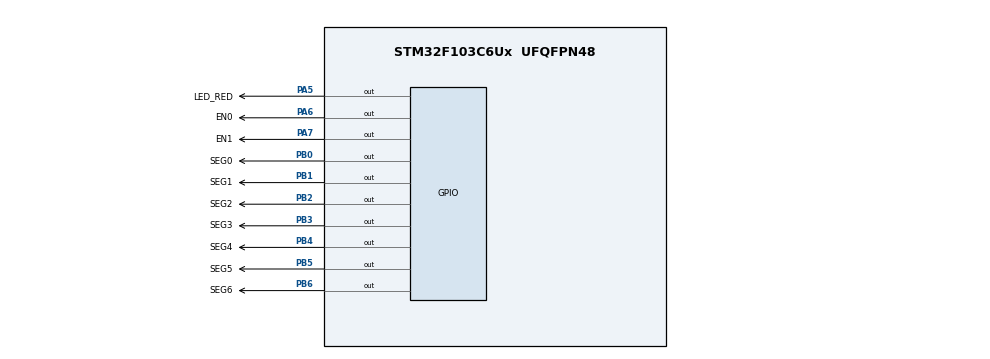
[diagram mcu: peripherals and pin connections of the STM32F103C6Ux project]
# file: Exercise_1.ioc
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Mcu.Family=STM32F1
Mcu.Name=STM32F103C6Ux
Mcu.Package=UFQFPN48
NVIC.PriorityGroup=NVIC_PRIORITYGROUP_4
NVIC.TIM2_IRQn=true\:0\:0\:false\:false\:true\:true\:true
PA5.GPIO_Label=LED_RED
PA5.Signal=GPIO_Output
PA6.GPIO_Label=EN0
PA6.Signal=GPIO_Output
PA7.GPIO_Label=EN1
PA7.Signal=GPIO_Output
PB0.GPIO_Label=SEG0
PB0.Signal=GPIO_Output
PB1.GPIO_Label=SEG1
PB1.Signal=GPIO_Output
PB2.GPIO_Label=SEG2
PB2.Signal=GPIO_Output
PB3.GPIO_Label=SEG3
PB3.Signal=GPIO_Output
PB4.GPIO_Label=SEG4
PB4.Signal=GPIO_Output
PB5.GPIO_Label=SEG5
PB5.Signal=GPIO_Output
PB6.GPIO_Label=SEG6
PB6.Signal=GPIO_Output
ProjectManager.HeapSize=0x200
ProjectManager.StackSize=0x400
ProjectManager.TargetToolchain=STM32CubeIDE
RCC.APB1Freq_Value=8000000
RCC.APB2Freq_Value=8000000
TIM2.Period=9
TIM2.Prescaler=7999
VP_SYS_VS_ND.Mode=No_Debug
VP_TIM2_VS_ClockSourceINT.Mode=Internal
board=custom

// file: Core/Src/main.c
/* USER CODE BEGIN Header */
/**
  ******************************************************************************
  * @file           : main.c
  * @brief          : Main program body
  ******************************************************************************
  * @attention
  *
  * <h2><center>&copy; Copyright (c) 2026 STMicroelectronics.
  * All rights reserved.</center></h2>
  *
  * This software component is licensed by ST under BSD 3-Clause license,
  * the "License"; You may not use this file except in compliance with the
  * License. You may obtain a copy of the License at:
  *                        opensource.org/licenses/BSD-3-Clause
  *
  ******************************************************************************
  */
/* USER CODE END Header */
#include "main.h"

TIM_HandleTypeDef htim2;

/* USER CODE BEGIN PV */
int counter_7seg = 0;
int current_led = 0;
/* USER CODE END PV */

void SystemClock_Config(void);
static void MX_TIM2_Init(void);
static void MX_GPIO_Init(void);

/* USER CODE BEGIN 0 */
void display7SEG(int num)
{
    static const uint8_t digit[10] = {
        0x3F,   // 0
        0x06,   // 1
        0x5B,   // 2
        0x4F,   // 3
        0x66,   // 4
        0x6D,   // 5
        0x7D,   // 6
        0x07,   // 7
        0x7F,   // 8
        0x6F    // 9
    };

    uint16_t segPins[7] = {
        SEG0_Pin,
        SEG1_Pin,
        SEG2_Pin,
        SEG3_Pin,
        SEG4_Pin,
        SEG5_Pin,
        SEG6_Pin
    };

    if (num < 0 || num > 9)
        return;

    for (int i = 0; i < 7; i++)
    {
        if (digit[num] & (1 << i))
        {
            /* Common anode: LOW = ON */
            HAL_GPIO_WritePin(GPIOB, segPins[i], GPIO_PIN_RESET);
        }
        else
        {
            /* HIGH = OFF */
            HAL_GPIO_WritePin(GPIOB, segPins[i], GPIO_PIN_SET);
        }
    }
}

/* USER CODE END 0 */

int main(void)
{

  /* MCU Configuration--------------------------------------------------------*/

  /* Reset of all peripherals, Initializes the Flash interface and the Systick. */
  HAL_Init();

  /* Configure the system clock */
  SystemClock_Config();

  /* Initialize all configured peripherals */
  MX_TIM2_Init();
  MX_GPIO_Init();

  /* USER CODE BEGIN 2 */
  /* Tắt cả hai 7-segment trước */
  HAL_GPIO_WritePin(EN0_GPIO_Port, EN0_Pin, GPIO_PIN_SET);
  HAL_GPIO_WritePin(EN1_GPIO_Port, EN1_Pin, GPIO_PIN_SET);

  /* Ban đầu hiển thị số 1 trên LED thứ nhất */
  display7SEG(1);
  HAL_GPIO_WritePin(EN0_GPIO_Port, EN0_Pin, GPIO_PIN_RESET);

  current_led = 0;

  /* Start Timer 2 Interrupt */
  HAL_TIM_Base_Start_IT (& htim2 );
  /* USER CODE END 2 */

  /* Infinite loop */
  while (1)
  {

  }
}

void SystemClock_Config(void)
{
  RCC_OscInitTypeDef RCC_OscInitStruct = {0};
  RCC_ClkInitTypeDef RCC_ClkInitStruct = {0};

  /** Initializes the RCC Oscillators according to the specified parameters
  * in the RCC_OscInitTypeDef structure.
  */
  RCC_OscInitStruct.OscillatorType = RCC_OSCILLATORTYPE_HSI;
  RCC_OscInitStruct.HSIState = RCC_HSI_ON;
  RCC_OscInitStruct.HSICalibrationValue = RCC_HSICALIBRATION_DEFAULT;
  RCC_OscInitStruct.PLL.PLLState = RCC_PLL_NONE;
  if (HAL_RCC_OscConfig(&RCC_OscInitStruct) != HAL_OK)
  {
    Error_Handler();
  }
  /** Initializes the CPU, AHB and APB buses clocks
  */
  RCC_ClkInitStruct.ClockType = RCC_CLOCKTYPE_HCLK|RCC_CLOCKTYPE_SYSCLK
                              |RCC_CLOCKTYPE_PCLK1|RCC_CLOCKTYPE_PCLK2;
  RCC_ClkInitStruct.SYSCLKSource = RCC_SYSCLKSOURCE_HSI;
  RCC_ClkInitStruct.AHBCLKDivider = RCC_SYSCLK_DIV1;
  RCC_ClkInitStruct.APB1CLKDivider = RCC_HCLK_DIV1;
  RCC_ClkInitStruct.APB2CLKDivider = RCC_HCLK_DIV1;

  if (HAL_RCC_ClockConfig(&RCC_ClkInitStruct, FLASH_LATENCY_0) != HAL_OK)
  {
    Error_Handler();
  }
}

static void MX_TIM2_Init(void)
{

  TIM_ClockConfigTypeDef sClockSourceConfig = {0};
  TIM_MasterConfigTypeDef sMasterConfig = {0};

  htim2.Instance = TIM2;
  htim2.Init.Prescaler = 7999;
  htim2.Init.CounterMode = TIM_COUNTERMODE_UP;
  htim2.Init.Period = 9;
  htim2.Init.ClockDivision = TIM_CLOCKDIVISION_DIV1;
  htim2.Init.AutoReloadPreload = TIM_AUTORELOAD_PRELOAD_DISABLE;
  if (HAL_TIM_Base_Init(&htim2) != HAL_OK)
  {
    Error_Handler();
  }
  sClockSourceConfig.ClockSource = TIM_CLOCKSOURCE_INTERNAL;
  if (HAL_TIM_ConfigClockSource(&htim2, &sClockSourceConfig) != HAL_OK)
  {
    Error_Handler();
  }
  sMasterConfig.MasterOutputTrigger = TIM_TRGO_RESET;
  sMasterConfig.MasterSlaveMode = TIM_MASTERSLAVEMODE_DISABLE;
  if (HAL_TIMEx_MasterConfigSynchronization(&htim2, &sMasterConfig) != HAL_OK)
  {
    Error_Handler();
  }

}

static void MX_GPIO_Init(void)
{
  GPIO_InitTypeDef GPIO_InitStruct = {0};

  /* GPIO Ports Clock Enable */
  __HAL_RCC_GPIOA_CLK_ENABLE();
  __HAL_RCC_GPIOB_CLK_ENABLE();

  /*Configure GPIO pin Output Level */
  HAL_GPIO_WritePin(GPIOA, LED_RED_Pin|EN0_Pin|EN1_Pin, GPIO_PIN_RESET);

  /*Configure GPIO pin Output Level */
  HAL_GPIO_WritePin(GPIOB, SEG0_Pin|SEG1_Pin|SEG2_Pin|SEG3_Pin
                          |SEG4_Pin|SEG5_Pin|SEG6_Pin, GPIO_PIN_RESET);

  /*Configure GPIO pins : LED_RED_Pin EN0_Pin EN1_Pin */
  GPIO_InitStruct.Pin = LED_RED_Pin|EN0_Pin|EN1_Pin;
  GPIO_InitStruct.Mode = GPIO_MODE_OUTPUT_PP;
  GPIO_InitStruct.Pull = GPIO_NOPULL;
  GPIO_InitStruct.Speed = GPIO_SPEED_FREQ_LOW;
  HAL_GPIO_Init(GPIOA, &GPIO_InitStruct);

  /*Configure GPIO pins : SEG0_Pin SEG1_Pin SEG2_Pin SEG3_Pin
                           SEG4_Pin SEG5_Pin SEG6_Pin */
  GPIO_InitStruct.Pin = SEG0_Pin|SEG1_Pin|SEG2_Pin|SEG3_Pin
                          |SEG4_Pin|SEG5_Pin|SEG6_Pin;
  GPIO_InitStruct.Mode = GPIO_MODE_OUTPUT_PP;
  GPIO_InitStruct.Pull = GPIO_NOPULL;
  GPIO_InitStruct.Speed = GPIO_SPEED_FREQ_LOW;
  HAL_GPIO_Init(GPIOB, &GPIO_InitStruct);

}

/* USER CODE BEGIN 4 */
void HAL_TIM_PeriodElapsedCallback(TIM_HandleTypeDef *htim)
{
    if (htim->Instance == TIM2)
    {
        counter_7seg++;

        // 50 x 10 ms = 500 ms
        if (counter_7seg >= 50)
        {
            counter_7seg = 0;

            // Tắt cả hai LED trước khi đổi dữ liệu
            HAL_GPIO_WritePin(EN0_GPIO_Port, EN0_Pin, GPIO_PIN_SET);
            HAL_GPIO_WritePin(EN1_GPIO_Port, EN1_Pin, GPIO_PIN_SET);

            if (current_led == 0)
            {
                // Chuyển sang LED thứ 2
                display7SEG(2);

                HAL_GPIO_WritePin(
                    EN1_GPIO_Port,
                    EN1_Pin,
                    GPIO_PIN_RESET
                );

                current_led = 1;
            }
            else
            {
                // Chuyển về LED thứ 1
                display7SEG(1);

                HAL_GPIO_WritePin(
                    EN0_GPIO_Port,
                    EN0_Pin,
                    GPIO_PIN_RESET
                );

                current_led = 0;
            }
        }
    }
}
/* USER CODE END 4 */

void Error_Handler(void)
{
  __disable_irq();
  while (1)
  {
  }
}

/************************ (C) COPYRIGHT STMicroelectronics *****END OF FILE****/
